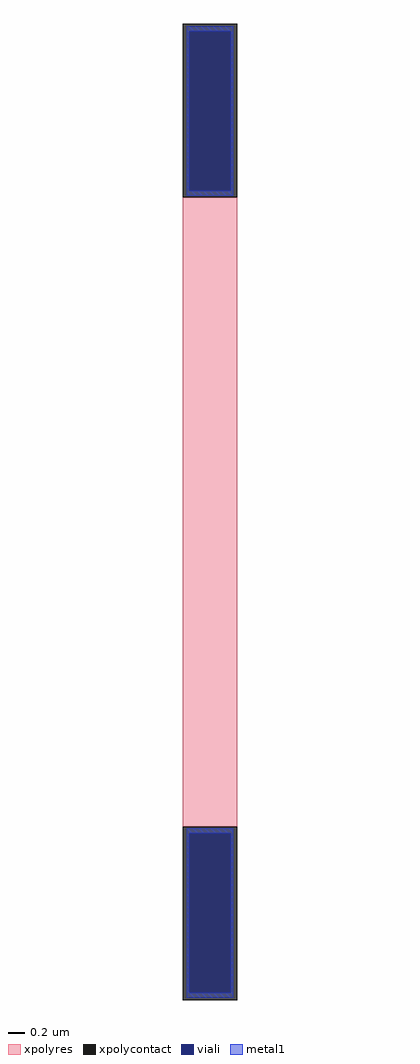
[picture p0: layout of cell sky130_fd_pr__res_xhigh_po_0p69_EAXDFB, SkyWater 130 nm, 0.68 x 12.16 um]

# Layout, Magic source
magic
tech sky130A
<< xpolycontact >>
rect -34 392 34 608
rect -34 -608 34 -392
<< xpolyres >>
rect -34 -392 34 392
<< viali >>
rect -26 400 26 599
rect -26 -599 26 -400
<< metal1 >>
rect -29 599 29 605
rect -29 400 -26 599
rect 26 400 29 599
rect -29 394 29 400
rect -29 -400 29 -394
rect -29 -599 -26 -400
rect 26 -599 29 -400
rect -29 -605 29 -599
<< properties >>
string gencell sky130_fd_pr__res_xhigh_po_0p69
string library sky130
string parameters w 0.690 l 8.0 m 1 nx 1 wmin 0.690 lmin 0.50 class resistor rho 2000 val 23.733k dummy 0 dw 0.0 term 188.2 sterm 0.0 caplen 0 wmax 0.690 guard 0 glc 1 grc 1 gtc 1 gbc 1 compatible {sky130_fd_pr__res_xhigh_po_0p35  sky130_fd_pr__res_xhigh_po_0p69 sky130_fd_pr__res_xhigh_po_1p41  sky130_fd_pr__res_xhigh_po_2p85 sky130_fd_pr__res_xhigh_po_5p73} snake 0 full_metal 1 n_guard 0 hv_guard 0 vias 1 viagb 0 viagt 0 viagl 0 viagr 0
<< end >>
